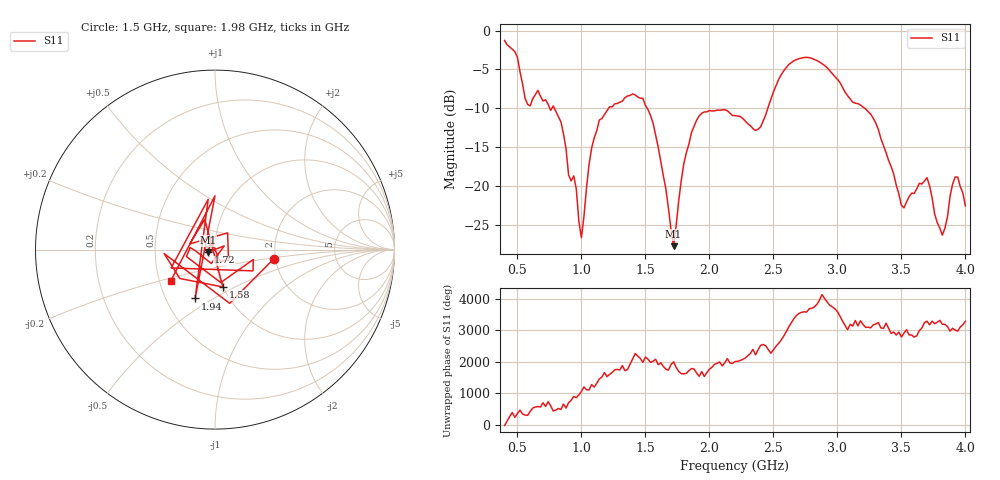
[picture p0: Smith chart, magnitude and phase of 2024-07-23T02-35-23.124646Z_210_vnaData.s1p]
!Created with skrf (http://scikit-rf.org).
# Hz S RI R 50.0
!freq ReS11 ImS11
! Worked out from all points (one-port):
!   181 points, 400 MHz to 4 GHz, reference 50 ohm
!   lowest |S11| = -27.7 dB at 1.72 GHz (marker M1), VSWR 1.09, Z = 46.3 - j1.32 ohm
!   |S11| at or under -10 dB: 788.7 MHz to 1.213 GHz (423.9 MHz wide, 42.4 % of centre); 1.514 GHz to 2.456 GHz (942.1 MHz wide, 47.5 % of centre); 3.214 GHz to end of sweep (the widest 3 of 4)
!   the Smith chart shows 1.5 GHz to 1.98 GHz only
!   S11 on the Smith chart (normalised r, x): 1.5 GHz: 1.95, -0.23; 1.58 GHz: 1.00, -0.44; 1.72 GHz: 0.93, -0.03; 1.94 GHz: 0.70, -0.42; 1.98 GHz: 0.58, -0.22
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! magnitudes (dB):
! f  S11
! 400 MHz  -1.3
! 500 MHz  -3.4
! 580 MHz  -9.5
! 660 MHz  -7.7
! 860 MHz  -13.3
! 900 MHz  -18.6
! 960 MHz  -20.4
! 1 GHz  -26.6
! 1.1 GHz  -13.8
! 1.3 GHz  -9.2
! 1.5 GHz  -9.6
! 1.58 GHz  -13.4
! 1.72 GHz  -27.7
! 1.76 GHz  -21.9
! 1.86 GHz  -13.1
! 1.94 GHz  -10.6
! 1.98 GHz  -10.5
! 2.2 GHz  -10.9
! 2.4 GHz  -12.4
! 2.66 GHz  -3.9
! 3.1 GHz  -8.8
! 3.3 GHz  -11.9
! 3.5 GHz  -22.5
! 3.56 GHz  -21.4
! 3.7 GHz  -18.9
! 3.82 GHz  -26.3
! 3.92 GHz  -18.8
! 4 GHz  -22.6
